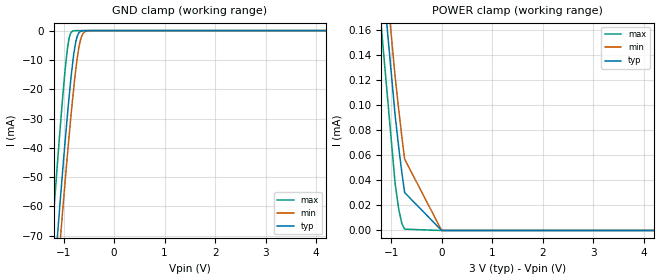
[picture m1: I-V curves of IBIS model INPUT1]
| [Disclaimer]  This software code and all associated documentation, comments
| or other information (collectively "Software") is provided
| "AS IS" without warranty of any kind. MICRON TECHNOLOGY, INC.
| ("MTI") EXPRESSLY DISCLAIMS ALL WARRANTIES EXPRESS OR IMPLIED,
| INCLUDING BUT NOT LIMITED TO, NONINFRINGEMENT OF THIRD PARTY
| RIGHTS, AND ANY IMPLIED WARRANTIES OF MERCHANTABILITY OR
| FITNESS FOR ANY PARTICULAR PURPOSE. MTI DOES NOT WARRANT THAT
| THE SOFTWARE WILL MEET YOUR REQUIREMENTS, OR THAT THE
| OPERATION OF THE SOFTWARE WILL BE UNINTERRUPTED OR ERROR-FREE.
| FURTHERMORE, MTI DOES NOT MAKE ANY REPRESENTATIONS REGARDING
| THE USE OR THE RESULTS OF THE USE OF THE SOFTWARE IN TERMS OF
| ITS CORRECTNESS, ACCURACY, RELIABILITY, OR OTHERWISE. THE
| ENTIRE RISK ARISING OUT OF USE OR PERFORMANCE OF THE SOFTWARE
| REMAINS WITH YOU. IN NO EVENT SHALL MTI, ITS AFFILIATED
| COMPANIES OR THEIR SUPPLIERS BE LIABLE FOR ANY DIRECT,
| INDIRECT, CONSEQUENTIAL, INCIDENTAL, OR SPECIAL DAMAGES
| (INCLUDING, WITHOUT LIMITATION, DAMAGES FOR LOSS OF PROFITS,
| BUSINESS INTERRUPTION, OR LOSS OF INFORMATION) ARISING OUT OF
| YOUR USE OF OR INABILITY TO USE THE SOFTWARE, EVEN IF MTI HAS
| BEEN ADVISED OF THE POSSIBILITY OF SUCH DAMAGES. Because some
| jurisdictions prohibit the exclusion or limitation of
| liability for consequential or incidental damages, the above
| limitation may not apply to you.
| [Copyright] Copyright 2016 Micron Technology, Inc. All rights reserved.
| From mt28ew256aba_3p0_it.ibs, Micron Technology,Inc.
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|   Model INPUT1
[Model]   INPUT1
Model_type   Input
Vinl = 0.800V
Vinh = 2.100V
|   typ   min   max
C_comp   2.719pF   2.219pF   3.219pF
[Voltage Range]   3.000V   2.700V   3.600V
| Junction Temperature (Ambient temp is 35C typ, 85C min, -40C max)
[Temperature Range]   50.0   100.0   -40.0
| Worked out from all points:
|   GND clamp passes 1 mA (typ) near -0.71 V on its own axis
[GND Clamp]
|   Voltage   I(typ)   I(min)   I(max)
-3V       -510.6mA   -512mA     -509.6mA
-1.227V   -93.24mA   -106.1mA   -69.49mA
-1.128V   -71.25mA   -84.58mA   -46.55mA
-1.056V   -55.64mA   -69.25mA   -30.61mA
-921mV    -28.11mA   -41.68mA   -5.732mA
-867mV    -18.34mA   -31.41mA   -1.134mA
-822mV    -11.25mA   -23.36mA   -179.2uA
-759mV    -3.81mA    -13.32mA   -12.14uA
-696mV    -768.8uA   -5.537mA   -1.086uA
-633mV    -104.4uA   -1.55mA    -152.5nA
-543mV    -5.989uA   -148.4uA   -20.69nA
6V        0A         0A         0A
[POWER Clamp]
|   Voltage   I(typ)   I(min)   I(max)
-3V       1.012mA    1.028mA    983.7uA
-921mV    91.74uA    122.5uA    37.43uA
-849mV    66.01uA    96.02uA    16.76uA
-786mV    45.65uA    74.16uA    5.215uA
-732mV    30.17uA    56.77uA    1.044uA
0V        22.27pA    43.05pA    37.16pA
3.039V    0A         0A         0A
6V        0A         0A         0A
